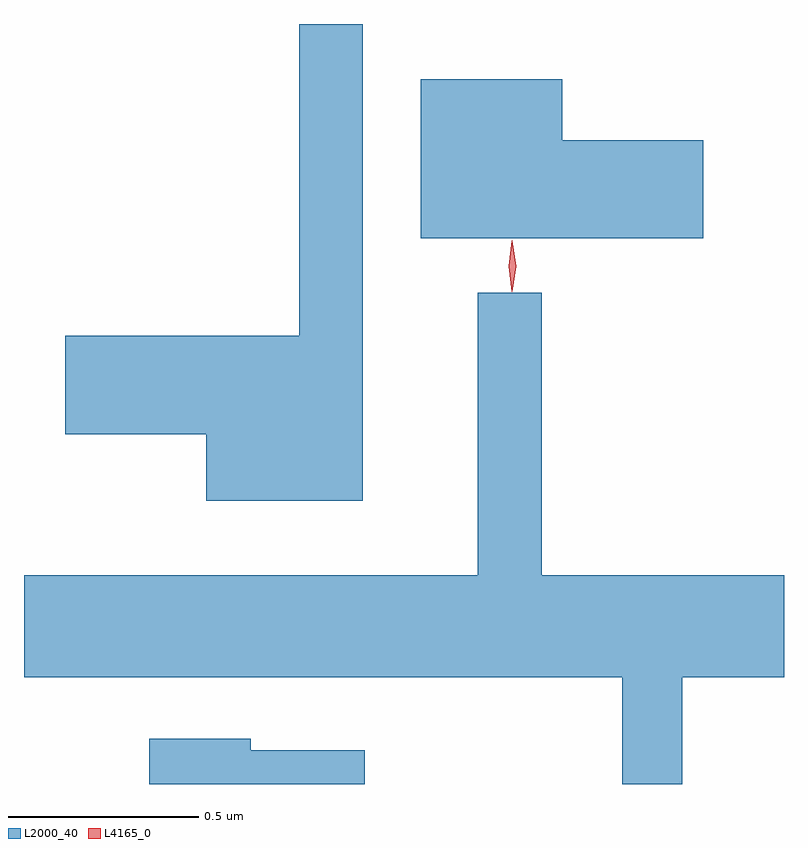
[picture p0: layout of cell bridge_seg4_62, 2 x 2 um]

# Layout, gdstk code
import gdstk
lib = gdstk.Library(unit=1e-6, precision=1e-09)
def P(c, l, *ps):  # polygons
    for p in ps: c.add(gdstk.Polygon(p, *l))
L2000_40 = (2000, 40)
L4165_0 = (4165, 0)

bridge_seg4_62 = lib.new_cell('bridge_seg4_62')
P(bridge_seg4_62, L2000_40, [(1279.829,1289.795),(1279.661,1289.795),(1279.661,1288.974),(1279.046,1288.974),(1279.046,1288.716),(1279.416,1288.716),(1279.416,1288.541),(1279.829,1288.541)],
  [(1280.724,1289.489),(1280.354,1289.489),(1280.354,1289.649),(1279.981,1289.649),(1279.981,1289.231),(1280.724,1289.231)],
  [(1280.669,1288.076),(1280.937,1288.076),(1280.937,1288.344),(1280.299,1288.344),(1280.299,1289.088),(1280.131,1289.088),(1280.131,1288.344),(1278.937,1288.344),(1278.937,1288.076),(1280.511,1288.076),(1280.511,1287.795),(1280.669,1287.795)],
  [(1279.834,1287.884),(1279.534,1287.884),(1279.534,1287.914),(1279.266,1287.914),(1279.266,1287.795),(1279.834,1287.795)])
P(bridge_seg4_62, L4165_0, [(1280.221,1289.09),(1280.212,1289.158),(1280.221,1289.225),(1280.222,1289.226),(1280.222,1289.225),(1280.232,1289.158),(1280.222,1289.09),(1280.222,1289.09)],
  [(1280.221,1289.093),(1280.212,1289.156),(1280.221,1289.219),(1280.222,1289.22),(1280.222,1289.219),(1280.232,1289.156),(1280.222,1289.093),(1280.222,1289.093)])

lib.write_gds('bridge_seg4_62.gds')
